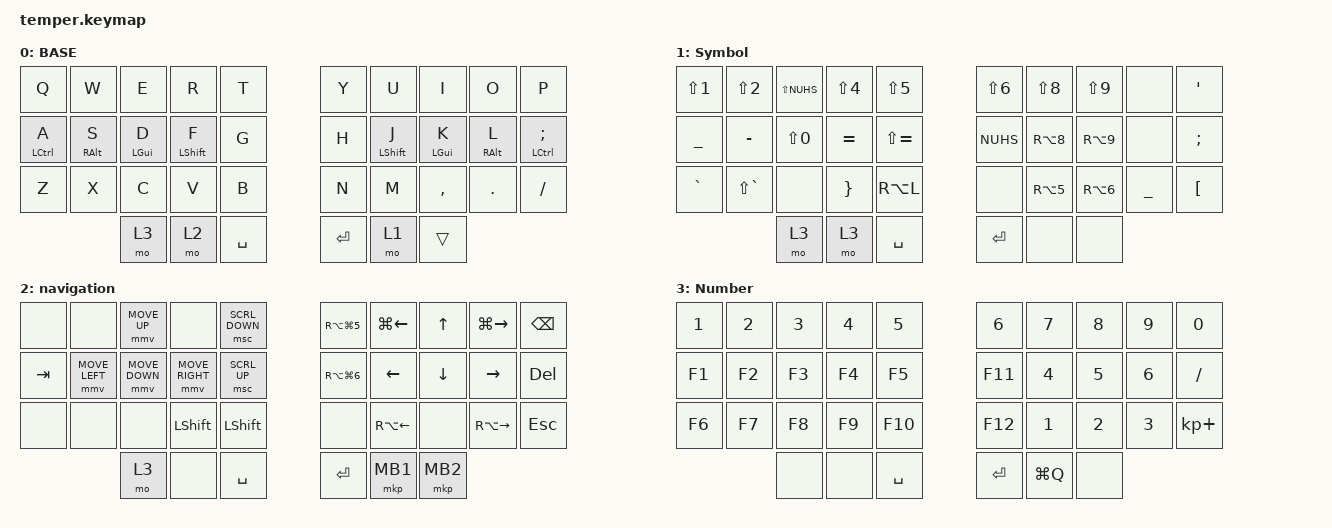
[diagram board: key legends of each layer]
/*
 * Copyright (c) 2020 The ZMK Contributors
 *
 * SPDX-License-Identifier: MIT
 */

#include <behaviors.dtsi>
#include <dt-bindings/zmk/keys.h>
#include <dt-bindings/zmk/pointing.h>
#include <dt-bindings/zmk/bt.h>

/ {
    combos {
        compatible = "zmk,combos";

        slash_combo {
            bindings = <&kp LS(N7)>;
            key-positions = <16 7>;
            layers = <1>;
        };

        Backslash {
            bindings = <&kp RA(LS(N7))>;
            key-positions = <6 17>;
            layers = <1>;
        };

        pipe {
            bindings = <&kp RA(N7)>;
            key-positions = <6 16>;
            layers = <1>;
        };

        caps {
            bindings = <&kp CAPSLOCK>;
            key-positions = <6 7 8>;
            layers = <0>;
        };

        finder {
            bindings = <&kp LG(SPACE)>;
            key-positions = <1 2 3>;
            layers = <0>;
        };

        semi_colon {
            bindings = <&kp LS(COMMA)>;
            key-positions = <28 27>;
            layers = <0>;
        };

        soft_off {
            bindings = <&soft_off>;
            key-positions = <0 20 9 29>;
            layers = <0>;
        };

        bt_clear_combo {
            bindings = <&bt BT_CLR>;
            key-positions = <0 10 20>;
            layers = <1>;
        };
    };

    behaviors {
        hml: homerow_mods_left {
            compatible = "zmk,behavior-hold-tap";
            label = "HOMEROW_MODS_LEFT_HAND";
            bindings = <&kp>, <&kp>;
            flavor = "tap-preferred";
            #binding-cells = <2>;
            tapping-term-ms = <130>;
            hold-trigger-key-positions = <5 6 7 8 9 15 16 17 18 19 25 26 27 28 29 33 34 35>;
        };

        hml_long: homerow_mods_left_ong {
            compatible = "zmk,behavior-hold-tap";
            label = "HOMEROW_MODS_LEFT_HAND";
            bindings = <&kp>, <&kp>;
            flavor = "tap-preferred";
            #binding-cells = <2>;
            tapping-term-ms = <250>;
            hold-trigger-key-positions = <5 6 7 8 9 15 16 17 18 19 25 26 27 28 29 33 34 35>;
        };

        hmr: homerow_mods_right {
            compatible = "zmk,behavior-hold-tap";
            label = "HOMEROW_MODS_RIGHT_HAND";
            bindings = <&kp>, <&kp>;
            flavor = "tap-preferred";
            #binding-cells = <2>;
            tapping-term-ms = <130>;
            hold-trigger-key-positions = <0 1 2 3 4 10 11 12 13 14 20 21 22 23 24 30 31 32>;
        };

        hmr_long: homerow_mods_right_long {
            compatible = "zmk,behavior-hold-tap";
            label = "HOMEROW_MODS_RIGHT_HAND";
            bindings = <&kp>, <&kp>;
            flavor = "tap-preferred";
            #binding-cells = <2>;
            tapping-term-ms = <250>;
            hold-trigger-key-positions = <0 1 2 3 4 10 11 12 13 14 20 21 22 23 24 30 31 32>;
        };
    };

    keymap {
        compatible = "zmk,keymap";

        BASE {
            bindings = <
&kp Q         &kp W             &kp E            &kp R              &kp T        &kp Y    &kp U              &kp I            &kp O             &kp P
&hml_long LCTRL A  &hml_long RIGHT_ALT S  &hml_long LEFT_GUI D  &hml LEFT_SHIFT F  &kp G        &kp H    &hml LEFT_SHIFT J  &hmr_long LEFT_GUI K  &hmr_long RIGHT_ALT L  &hmr_long LEFT_CONTROL SEMI
&kp Z         &kp X             &kp C            &kp V              &kp B        &kp N    &kp M              &kp COMMA        &kp DOT           &kp SLASH
                                &mo 3            &mo 2              &kp SPACE    &kp RET  &mo 1              &trans
            >;
        };

        Symbol {
            // -----------------------------------------------------------------------------------------
            // |  Q  |  W  |  E  |  R  |  T   |   |  Y  |  U   |  I  |  O  |  P  |
            // |  A  |  S  |  D  |  F  |  G   |   |  H  |  J   |  K  |  L  |  ;  |
            // |  Z  |  X  |  C  |  V  |  B   |   |  N  |  M   |  ,  |  .  |  /  |
            //             | GUI | NAV | SHFT |   | SPC | SYM  | ALT |

            bindings = <
&kp LS(N1)  &kp LS(N2)  &kp LS(NUHS)    &kp LS(N4)     &kp LS(N5)    &kp LS(N6)  &kp LS(N8)  &kp LS(N9)  &none         &kp SINGLE_QUOTE
&kp UNDERSCORE     &kp MINUS          &kp LS(N0)  &kp EQUAL  &kp LS(EQUAL)      &kp NUHS       &kp RA(N8)        &kp RA(N9)        &none         &kp SEMICOLON
&kp GRAVE    &kp LS(GRAVE)   &none     &kp RBRC   &kp RA(L)    &none          &kp RA(N5)      &kp RA(N6)      &kp UNDERSCORE  &kp LBKT
                                    &mo 3      &mo 3          &kp SPACE      &kp ENTER      &none                 &none
            >;
        };

        navigation {
            bindings = <
&none    &none           &mmv MOVE_UP    &none            &msc SCRL_DOWN    &kp RA(LG(N5))        &kp LG(LEFT)        &kp UP_ARROW  &kp LG(RIGHT)  &kp BACKSPACE
&kp TAB  &mmv MOVE_LEFT  &mmv MOVE_DOWN  &mmv MOVE_RIGHT  &msc SCRL_UP      &kp RA(LG(NUMBER_6))  &kp LEFT            &kp DOWN      &kp RIGHT      &kp DELETE
&none    &none           &none           &kp LEFT_SHIFT   &kp LEFT_SHIFT    &none                 &kp RA(LEFT_ARROW)  &none         &kp RA(RIGHT)  &kp ESCAPE
                         &mo 3           &none            &kp SPACE         &kp ENTER             &mkp MB1            &mkp MB2
            >;
        };

        Number {
            bindings = <
&kp N1  &kp N2  &kp N3  &kp N4  &kp N5       &kp N6   &kp N7     &kp N8  &kp N9  &kp N0
&kp F1  &kp F2  &kp F3  &kp F4  &kp F5       &kp F11  &kp N4     &kp N5  &kp N6  &kp SLASH
&kp F6  &kp F7  &kp F8  &kp F9  &kp F10      &kp F12  &kp N1     &kp N2  &kp N3  &kp KP_PLUS
                &none   &none   &kp SPACE    &kp RET  &kp LG(Q)  &none
            >;
        };

        // This layer is unreachable until "tri layer state" is sorted out.
        // Leaving it here for completeness.Symbol {};
    };
};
